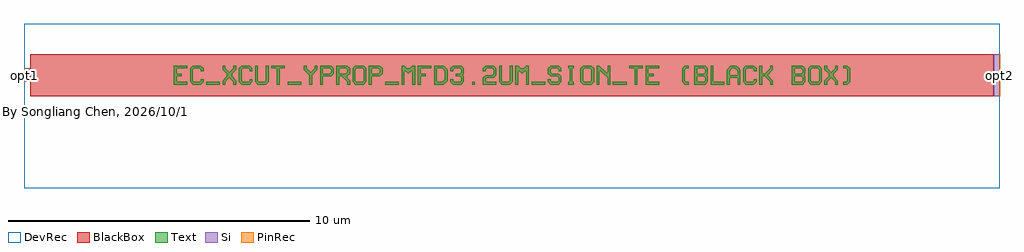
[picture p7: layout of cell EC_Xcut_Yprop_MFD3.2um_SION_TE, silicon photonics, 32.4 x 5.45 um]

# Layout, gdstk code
import gdstk
lib = gdstk.Library(unit=1e-6, precision=1e-10)
def R(c, l, rs):  # rectangles x0, y0, x1, y1
    for r in rs: c.add(gdstk.rectangle(r[:2], r[2:], *l))
def P(c, l, *ps):  # polygons
    for p in ps: c.add(gdstk.Polygon(p, *l))
Si = (1, 0)
PinRec = (1, 10)
Text = (10, 0)
DevRec = (68, 0)
BlackBox = (998, 0)

text_18 = lib.new_cell('TEXT$18')
R(text_18, Text, [(1.08,0,1.53,0.09), (3.78,0,4.23,0.09), (7.02,0,7.47,0.09), (9.9,0,9.99,0.09), (11.88,0,12.33,0.09), (14.58,0,15.03,0.09)])
P(text_18, Text, [(0,0),(0,0.63),(0.45,0.63),(0.45,0.54),(0.09,0.54),(0.09,0.36),(0.27,0.36),(0.27,0.27),(0.09,0.27),(0.09,0.09),(0.45,0.09),(0.45,0)],
  [(0.63,0),(0.54,0.09),(0.54,0.54),(0.63,0.63),(0.9,0.63),(0.99,0.54),(0.99,0.45),(0.9,0.45),(0.9,0.495),(0.855,0.54),(0.675,0.54),(0.63,0.495),(0.63,0.135),(0.675,0.09),(0.855,0.09),(0.9,0.135),(0.9,0.18),(0.99,0.18),(0.99,0.09),(0.9,0)],
  [(1.62,0),(1.62,0.135),(1.755,0.27),(1.755,0.36),(1.62,0.495),(1.62,0.63),(1.71,0.63),(1.71,0.54),(1.845,0.405),(1.98,0.54),(1.98,0.63),(2.07,0.63),(2.07,0.495),(1.935,0.36),(1.935,0.27),(2.07,0.135),(2.07,0),(1.98,0),(1.98,0.09),(1.845,0.225),(1.71,0.09),(1.71,0)],
  [(2.25,0),(2.16,0.09),(2.16,0.54),(2.25,0.63),(2.52,0.63),(2.61,0.54),(2.61,0.45),(2.52,0.45),(2.52,0.495),(2.475,0.54),(2.295,0.54),(2.25,0.495),(2.25,0.135),(2.295,0.09),(2.475,0.09),(2.52,0.135),(2.52,0.18),(2.61,0.18),(2.61,0.09),(2.52,0)],
  [(2.79,0),(2.7,0.09),(2.7,0.63),(2.79,0.63),(2.79,0.135),(2.835,0.09),(3.015,0.09),(3.06,0.135),(3.06,0.63),(3.15,0.63),(3.15,0.09),(3.06,0)],
  [(3.42,0),(3.42,0.54),(3.24,0.54),(3.24,0.63),(3.69,0.63),(3.69,0.54),(3.51,0.54),(3.51,0)],
  [(4.5,0),(4.5,0.315),(4.32,0.495),(4.32,0.63),(4.41,0.63),(4.41,0.54),(4.545,0.405),(4.68,0.54),(4.68,0.63),(4.77,0.63),(4.77,0.495),(4.59,0.315),(4.59,0)],
  [(4.86,0),(4.86,0.63),(5.22,0.63),(5.31,0.54),(5.31,0.36),(5.22,0.27),(4.95,0.27),(4.95,0.36),(5.175,0.36),(5.22,0.405),(5.22,0.495),(5.175,0.54),(4.95,0.54),(4.95,0)],
  [(5.4,0),(5.4,0.63),(5.76,0.63),(5.85,0.54),(5.49,0.54),(5.49,0.36),(5.715,0.36),(5.76,0.405),(5.76,0.495),(5.715,0.54),(5.85,0.54),(5.85,0.36),(5.76,0.27),(5.76,0.225),(5.85,0.135),(5.85,0),(5.76,0),(5.76,0.09),(5.58,0.27),(5.49,0.27),(5.49,0)],
  [(6.03,0),(5.94,0.09),(5.94,0.54),(6.03,0.63),(6.3,0.63),(6.39,0.54),(6.39,0.315),(6.3,0.315),(6.3,0.495),(6.255,0.54),(6.075,0.54),(6.03,0.495),(6.03,0.135),(6.075,0.09),(6.255,0.09),(6.3,0.135),(6.3,0.315),(6.39,0.315),(6.39,0.09),(6.3,0)],
  [(6.48,0),(6.48,0.63),(6.84,0.63),(6.93,0.54),(6.93,0.36),(6.84,0.27),(6.57,0.27),(6.57,0.36),(6.795,0.36),(6.84,0.405),(6.84,0.495),(6.795,0.54),(6.57,0.54),(6.57,0)],
  [(7.56,0),(7.56,0.63),(7.65,0.63),(7.74,0.54),(7.83,0.54),(7.92,0.63),(8.01,0.63),(8.01,0),(7.92,0),(7.92,0.45),(7.875,0.45),(7.785,0.36),(7.695,0.45),(7.65,0.45),(7.65,0)],
  [(8.1,0),(8.1,0.63),(8.55,0.63),(8.55,0.54),(8.19,0.54),(8.19,0.36),(8.37,0.36),(8.37,0.27),(8.19,0.27),(8.19,0)],
  [(8.64,0),(8.64,0.63),(8.955,0.63),(9.045,0.54),(8.73,0.54),(8.73,0.09),(8.91,0.09),(9,0.18),(9,0.45),(8.91,0.54),(9.045,0.54),(9.09,0.495),(9.09,0.135),(8.955,0)],
  [(9.27,0),(9.18,0.09),(9.18,0.18),(9.27,0.18),(9.27,0.135),(9.315,0.09),(9.495,0.09),(9.54,0.135),(9.54,0.225),(9.495,0.27),(9.36,0.27),(9.36,0.36),(9.495,0.36),(9.54,0.405),(9.54,0.495),(9.495,0.54),(9.315,0.54),(9.27,0.495),(9.27,0.45),(9.18,0.45),(9.18,0.54),(9.27,0.63),(9.54,0.63),(9.63,0.54),(9.63,0.36),(9.585,0.315),(9.63,0.27),(9.63,0.09),(9.54,0)],
  [(10.26,0),(10.26,0.225),(10.35,0.315),(10.575,0.315),(10.62,0.36),(10.62,0.495),(10.575,0.54),(10.395,0.54),(10.35,0.495),(10.35,0.45),(10.26,0.45),(10.26,0.54),(10.35,0.63),(10.62,0.63),(10.71,0.54),(10.71,0.315),(10.62,0.225),(10.395,0.225),(10.35,0.18),(10.35,0.09),(10.71,0.09),(10.71,0)],
  [(10.89,0),(10.8,0.09),(10.8,0.63),(10.89,0.63),(10.89,0.135),(10.935,0.09),(11.115,0.09),(11.16,0.135),(11.16,0.63),(11.25,0.63),(11.25,0.09),(11.16,0)],
  [(11.34,0),(11.34,0.63),(11.43,0.63),(11.52,0.54),(11.61,0.54),(11.7,0.63),(11.79,0.63),(11.79,0),(11.7,0),(11.7,0.45),(11.655,0.45),(11.565,0.36),(11.475,0.45),(11.43,0.45),(11.43,0)],
  [(12.51,0),(12.42,0.09),(12.42,0.18),(12.51,0.18),(12.51,0.135),(12.555,0.09),(12.735,0.09),(12.78,0.135),(12.78,0.225),(12.735,0.27),(12.51,0.27),(12.42,0.36),(12.42,0.54),(12.51,0.63),(12.78,0.63),(12.87,0.54),(12.87,0.45),(12.78,0.45),(12.78,0.495),(12.735,0.54),(12.555,0.54),(12.51,0.495),(12.51,0.405),(12.555,0.36),(12.78,0.36),(12.87,0.27),(12.87,0.09),(12.78,0)],
  [(13.095,0),(13.095,0.09),(13.14,0.09),(13.14,0.54),(13.095,0.54),(13.095,0.63),(13.275,0.63),(13.275,0.54),(13.23,0.54),(13.23,0.09),(13.275,0.09),(13.275,0)],
  [(13.59,0),(13.5,0.09),(13.5,0.54),(13.59,0.63),(13.86,0.63),(13.95,0.54),(13.95,0.315),(13.86,0.315),(13.86,0.495),(13.815,0.54),(13.635,0.54),(13.59,0.495),(13.59,0.135),(13.635,0.09),(13.815,0.09),(13.86,0.135),(13.86,0.315),(13.95,0.315),(13.95,0.09),(13.86,0)],
  [(14.04,0),(14.04,0.63),(14.13,0.63),(14.355,0.405),(14.4,0.405),(14.4,0.63),(14.49,0.63),(14.49,0),(14.4,0),(14.4,0.225),(14.175,0.45),(14.13,0.45),(14.13,0)],
  [(15.3,0),(15.3,0.54),(15.12,0.54),(15.12,0.63),(15.57,0.63),(15.57,0.54),(15.39,0.54),(15.39,0)],
  [(15.66,0),(15.66,0.63),(16.11,0.63),(16.11,0.54),(15.75,0.54),(15.75,0.36),(15.93,0.36),(15.93,0.27),(15.75,0.27),(15.75,0.09),(16.11,0.09),(16.11,0)],
  [(16.965,0),(16.875,0.09),(16.875,0.54),(16.965,0.63),(17.1,0.63),(17.1,0.54),(17.01,0.54),(16.965,0.495),(16.965,0.135),(17.01,0.09),(17.1,0.09),(17.1,0)],
  [(17.28,0),(17.28,0.63),(17.64,0.63),(17.73,0.54),(17.37,0.54),(17.37,0.36),(17.595,0.36),(17.64,0.405),(17.64,0.495),(17.595,0.54),(17.73,0.54),(17.73,0.36),(17.685,0.315),(17.73,0.27),(17.37,0.27),(17.37,0.09),(17.595,0.09),(17.64,0.135),(17.64,0.225),(17.595,0.27),(17.73,0.27),(17.73,0.09),(17.64,0)],
  [(17.82,0),(17.82,0.63),(17.91,0.63),(17.91,0.09),(18.27,0.09),(18.27,0)],
  [(18.36,0),(18.36,0.495),(18.495,0.63),(18.675,0.63),(18.765,0.54),(18.54,0.54),(18.45,0.45),(18.45,0.315),(18.72,0.315),(18.72,0.45),(18.63,0.54),(18.765,0.54),(18.81,0.495),(18.81,0),(18.72,0),(18.72,0.225),(18.45,0.225),(18.45,0)],
  [(18.99,0),(18.9,0.09),(18.9,0.54),(18.99,0.63),(19.26,0.63),(19.35,0.54),(19.35,0.45),(19.26,0.45),(19.26,0.495),(19.215,0.54),(19.035,0.54),(18.99,0.495),(18.99,0.135),(19.035,0.09),(19.215,0.09),(19.26,0.135),(19.26,0.18),(19.35,0.18),(19.35,0.09),(19.26,0)],
  [(19.44,0),(19.44,0.63),(19.53,0.63),(19.53,0.36),(19.62,0.36),(19.8,0.54),(19.8,0.63),(19.89,0.63),(19.89,0.495),(19.71,0.315),(19.89,0.135),(19.89,0),(19.8,0),(19.8,0.09),(19.62,0.27),(19.53,0.27),(19.53,0)],
  [(20.52,0),(20.52,0.63),(20.88,0.63),(20.97,0.54),(20.61,0.54),(20.61,0.36),(20.835,0.36),(20.88,0.405),(20.88,0.495),(20.835,0.54),(20.97,0.54),(20.97,0.36),(20.925,0.315),(20.97,0.27),(20.61,0.27),(20.61,0.09),(20.835,0.09),(20.88,0.135),(20.88,0.225),(20.835,0.27),(20.97,0.27),(20.97,0.09),(20.88,0)],
  [(21.15,0),(21.06,0.09),(21.06,0.54),(21.15,0.63),(21.42,0.63),(21.51,0.54),(21.51,0.315),(21.42,0.315),(21.42,0.495),(21.375,0.54),(21.195,0.54),(21.15,0.495),(21.15,0.135),(21.195,0.09),(21.375,0.09),(21.42,0.135),(21.42,0.315),(21.51,0.315),(21.51,0.09),(21.42,0)],
  [(21.6,0),(21.6,0.135),(21.735,0.27),(21.735,0.36),(21.6,0.495),(21.6,0.63),(21.69,0.63),(21.69,0.54),(21.825,0.405),(21.96,0.54),(21.96,0.63),(22.05,0.63),(22.05,0.495),(21.915,0.36),(21.915,0.27),(22.05,0.135),(22.05,0),(21.96,0),(21.96,0.09),(21.825,0.225),(21.69,0.09),(21.69,0)],
  [(22.23,0),(22.23,0.09),(22.32,0.09),(22.365,0.135),(22.365,0.495),(22.32,0.54),(22.23,0.54),(22.23,0.63),(22.365,0.63),(22.455,0.54),(22.455,0.09),(22.365,0)])

ec_xcut_yprop_mfd3_2um_s = lib.new_cell('EC_Xcut_Yprop_MFD3.2um_SION_TE')
R(ec_xcut_yprop_mfd3_2um_s, Si, [(15.9907,-0.7,16.1907,0.7), (-16.1907,-0.227,-15.9907,0.227)])
R(ec_xcut_yprop_mfd3_2um_s, DevRec, [(-16.1907,-3.7502,16.1907,1.7)])
R(ec_xcut_yprop_mfd3_2um_s, BlackBox, [(-15.9907,-0.7,15.9907,0.7)])
ec_xcut_yprop_mfd3_2um_s.add(gdstk.FlexPath([(-16.1807,0),(-16.2007,0)], 0.454, ends="flush", simple_path=True, layer=1, datatype=10))  # PinRec
ec_xcut_yprop_mfd3_2um_s.add(gdstk.FlexPath([(16.1807,0),(16.2007,0)], 1.4, ends="flush", simple_path=True, layer=1, datatype=10))  # PinRec
ec_xcut_yprop_mfd3_2um_s.add(gdstk.Reference(text_18, (-11.2275,-0.315)))
ec_xcut_yprop_mfd3_2um_s.add(gdstk.Label('By Songliang Chen, 2026/10/13', (-15.6907,-1.2), layer=10, texttype=0))
ec_xcut_yprop_mfd3_2um_s.add(gdstk.Label('opt1', (-16.1907,0), layer=1, texttype=10))
ec_xcut_yprop_mfd3_2um_s.add(gdstk.Label('opt2', (16.1907,0), layer=1, texttype=10))

lib.write_gds('EC_Xcut_Yprop_MFD3.2um_SION_TE.gds')
